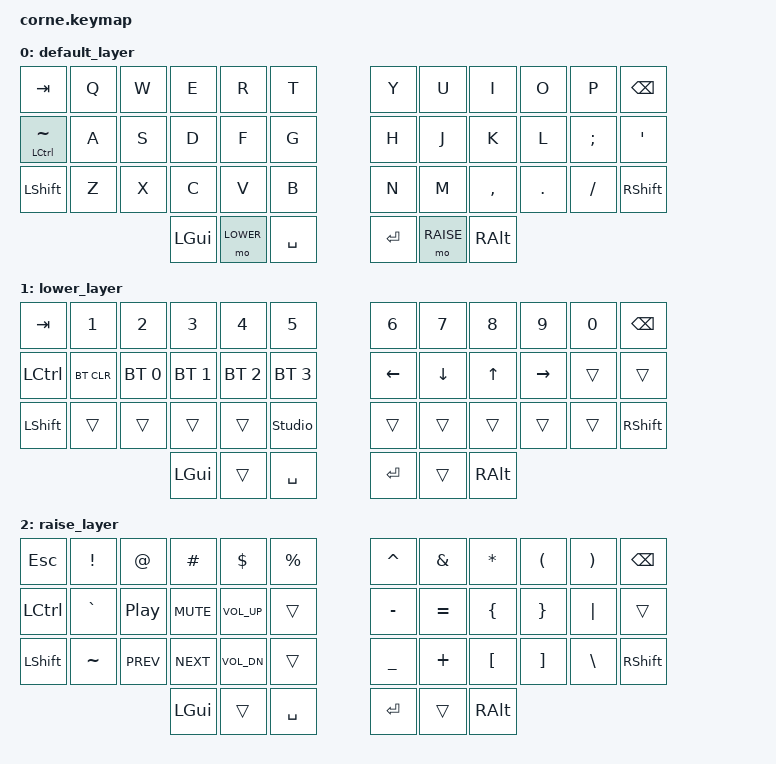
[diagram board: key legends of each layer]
/*
 * Copyright (c) 2020 The ZMK Contributors
 *
 * SPDX-License-Identifier: MIT
 */

#include <behaviors.dtsi>
#include <dt-bindings/zmk/keys.h>
#include <dt-bindings/zmk/bt.h>

#define DEFAULT 0
#define LOWER   1
#define RAISE   2

/ {
        keymap {
                compatible = "zmk,keymap";

                default_layer {
// -----------------------------------------------------------------------------------------
// |  TAB |  Q  |  W  |  E  |  R  |  T  |   |  Y  |  U   |  I  |  O  |  P  | BKSP |
// | CTRL |  A  |  S  |  D  |  F  |  G  |   |  H  |  J   |  K  |  L  |  ;  |  '   |
// | SHFT |  Z  |  X  |  C  |  V  |  B  |   |  N  |  M   |  ,  |  .  |  /  | ESC  |
//                    | GUI | LWR | SPC |   | ENT | RSE  | ALT |
                        bindings = <
   &kp TAB         &kp Q &kp W &kp E &kp R &kp T   &kp Y &kp U  &kp I     &kp O   &kp P    &kp BSPC
   &mt LCTRL TILDE &kp A &kp S &kp D &kp F &kp G   &kp H &kp J  &kp K     &kp L   &kp SEMI &kp SQT
   &kp LSHFT       &kp Z &kp X &kp C &kp V &kp B   &kp N &kp M  &kp COMMA &kp DOT &kp FSLH &kp RSHIFT
                    &kp LGUI &mo LOWER &kp SPACE   &kp RET &mo RAISE &kp RALT
                        >;
                };
                lower_layer {
// -----------------------------------------------------------------------------------------
// |  TAB |   1   |  2  |  3  |  4  |  5  |   |  6  |  7  |  8  |  9  |  0  | BKSP |
// | CTRL | BTCLR | BT1 | BT2 | BT3 | BT4 |   | LFT | DWN |  UP | RGT |     |      |
// | SHFT |       |     |     |     | ULK |   |     |     |     |     |     | SHFT |
//                      | GUI |     | SPC |   | ENT |     | ALT |
                        bindings = <
   &kp TAB   &kp N1     &kp N2       &kp N3        &kp N4       &kp N5         &kp N6   &kp N7   &kp N8 &kp N9    &kp N0 &kp BSPC
   &kp LCTRL &bt BT_CLR &bt BT_SEL 0 &bt BT_SEL 1  &bt BT_SEL 2 &bt BT_SEL 3   &kp LEFT &kp DOWN &kp UP &kp RIGHT &trans &trans
   &kp LSHFT &trans     &trans       &trans        &trans       &studio_unlock &trans   &trans   &trans &trans    &trans &kp RSHIFT
                                     &kp LGUI      &trans       &kp SPACE      &kp RET  &trans   &kp RALT
                        >;
                };

                raise_layer {
// -----------------------------------------------------------------------------------------
// |  ESC |  !  |  @   |  #   |    $   |  %  |   |  ^  |  &  |  *  |  (  |  )  | BKSP |
// | CTRL |  `  |  PP  | MUTE | VOL_UP |     |   |  -  |  =  |  {  |  }  | "|" |      |
// | SHFT |  ~  | PREV | NEXT | VOL_DN |     |   |  _  |  +  |  [  |  ]  |  \  | SHFT |
//                     | GUI  |        | SPC |   | ENT |     | ALT |
                        bindings = <
   &kp ESC   &kp EXCL  &kp AT     &kp HASH   &kp DLLR     &kp PRCNT   &kp CARET &kp AMPS  &kp STAR &kp LPAR &kp RPAR &kp BSPC
   &kp LCTRL &kp GRAVE &kp C_PP   &kp C_MUTE &kp C_VOL_UP &trans      &kp MINUS &kp EQUAL &kp LBRC &kp RBRC &kp PIPE &trans
   &kp LSHFT &kp TILDE &kp C_PREV &kp C_NEXT &kp C_VOL_DN &trans      &kp UNDER &kp PLUS  &kp LBKT &kp RBKT &kp BSLH &kp RSHIFT
                    	          &kp LGUI   &trans       &kp SPACE   &kp RET   &trans    &kp RALT
                        >;
                };
        };
};
